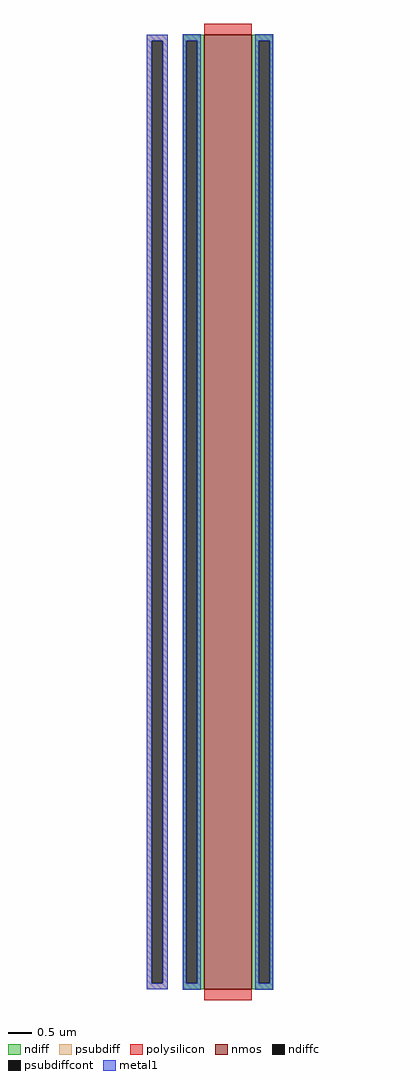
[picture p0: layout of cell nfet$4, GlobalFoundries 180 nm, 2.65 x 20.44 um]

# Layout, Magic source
magic
tech gf180mcuC
magscale 1 10
<< nmos >>
rect 88 0 288 4000
<< ndiff >>
rect 0 3973 88 4000
rect 0 27 13 3973
rect 59 27 88 3973
rect 0 0 88 27
rect 288 3973 376 4000
rect 288 27 317 3973
rect 363 27 376 3973
rect 288 0 376 27
<< ndiffc >>
rect 13 27 59 3973
rect 317 27 363 3973
<< psubdiff >>
rect -152 3973 -64 4000
rect -152 27 -131 3973
rect -85 27 -64 3973
rect -152 0 -64 27
<< psubdiffcont >>
rect -131 27 -85 3973
<< polysilicon >>
rect 88 4000 288 4044
rect 88 -44 288 0
<< metal1 >>
rect -152 3973 -64 4000
rect -152 27 -131 3973
rect -85 27 -64 3973
rect -152 0 -64 27
rect -2 3973 74 4002
rect -2 27 13 3973
rect 59 27 74 3973
rect -2 -2 74 27
rect 302 3973 378 4002
rect 302 27 317 3973
rect 363 27 378 3973
rect 302 -2 378 27
<< end >>
